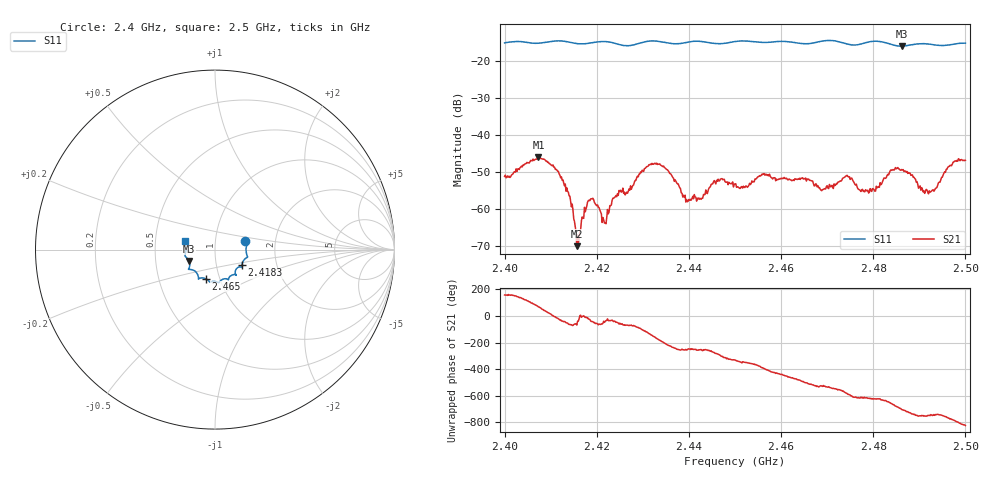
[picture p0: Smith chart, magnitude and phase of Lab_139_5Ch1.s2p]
# Hz S RI R 50
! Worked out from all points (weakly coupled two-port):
!   601 points, 2.4 GHz to 2.5 GHz, reference 50 ohm
!   highest |S21| = -46.12 dB at 2.4073 GHz (marker M1); lowest = -70.2 dB at 2.4157 GHz (marker M2)
!   lowest |S11| = -16.0 dB at 2.4862 GHz (marker M3), VSWR 1.37, Z = 37.1 - j4.83 ohm
!   |S11| at or under -10 dB: start of sweep to end of sweep
!   S12 and S22 are empty: the file has one direction only
!   S11 on the Smith chart (normalised r, x): 2.4 GHz: 1.40, +0.13; 2.4183 GHz: 1.33, -0.24; 2.465 GHz: 0.86, -0.29; 2.5 GHz: 0.71, +0.07
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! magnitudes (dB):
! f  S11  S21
! 2.4 GHz  -15.1  -51.3
! 2.4073 GHz  -15.2  -46.1
! 2.4122 GHz  -14.6  -51.7
! 2.4143 GHz  -15.0  -58.0
! 2.4157 GHz  -15.3  -70.2
! 2.4167 GHz  -15.4  -63.3
! 2.4183 GHz  -15.2  -57.8
! 2.4217 GHz  -14.8  -63.9
! 2.4247 GHz  -15.5  -56.4
! 2.4333 GHz  -14.7  -48.0
! 2.4398 GHz  -14.9  -58.0
! 2.4465 GHz  -15.4  -52.5
! 2.45 GHz  -14.8  -53.3
! 2.465 GHz  -15.4  -51.9
! 2.4667 GHz  -15.2  -52.5
! 2.4692 GHz  -14.6  -54.8
! 2.4743 GHz  -15.5  -51.0
! 2.4792 GHz  -14.9  -55.5
! 2.4833 GHz  -15.3  -50.9
! 2.4862 GHz  -16.0  -49.4
! 2.4923 GHz  -15.5  -55.6
! 2.5 GHz  -15.2  -46.9
